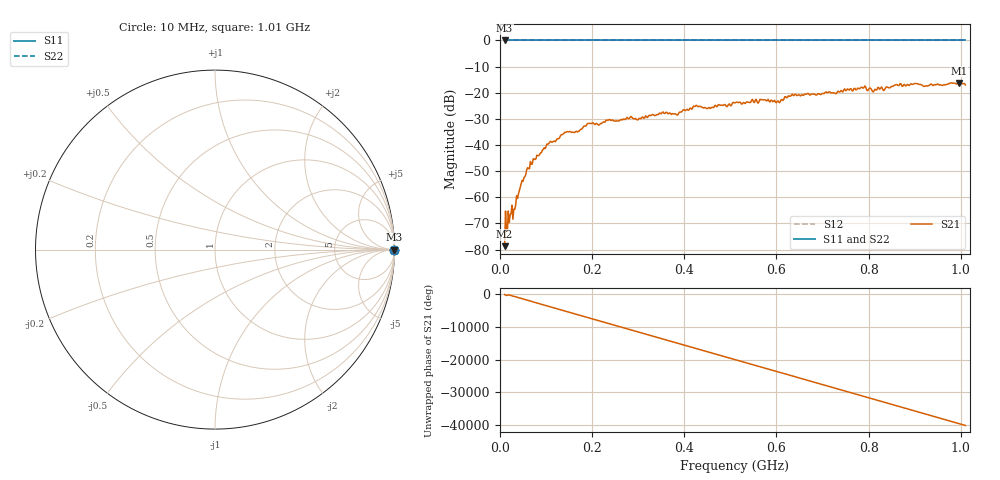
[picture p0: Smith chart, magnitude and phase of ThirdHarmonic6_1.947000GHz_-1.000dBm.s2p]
! 8/16/2025 11:27:03 PM
! C:\ANRITSUVNA\TEMP\TEMP.S2P
! CHANNEL.1
! TR.MEASUREMENT
! RAW.DATA
! RF.CORRECTION.OFF
! AVERAGING.OFF
! IF.BANDWIDTH: 5KHZ
! SWEEPTYPE:  FREQ.SWEEP(Linear)
! Reference Plane Port Info
! PORT:  PORT1  PORT2
! DISTANCE:  0  m  0  m
! TIME:  0  s  0  s
! PHASE.OFFSET:  0  deg.  0  deg.
! LOSS:  0  dB  0  dB
! REF.LOSS:  0  dB  0  dB
! REF.FREQ:  0  Hz  0  Hz
! Power Info
! POWER:  -20  dBm  -20  dBm
! EFF.POWER:  -20  dBm  -20  dBm
! SOURCE.ATTEN:  0  dB  0  dB
! TEST.ATTEN:  0  dB  0  dB
# GHZ S RI R 50.0
! FREQ.GHZ  S11RE  S11IM  S21RE  S21IM  S12RE  S12IM  S22RE  S22IM
!; PortSelection: Port_12
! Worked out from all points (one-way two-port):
!   501 points, 10 MHz to 1.01 GHz, reference 50 ohm
!   highest |S21| = -16.23 dB at 996 MHz (marker M1); lowest = -78.7 dB at 10 MHz (marker M2)
!   lowest |S11| = 0.0 dB at 10 MHz (marker M3)
!   |S11| at or under -10 dB: nowhere
!   |S22| runs from 0.0 to 0.0 dB; largest |S21 - S12| = 1.2
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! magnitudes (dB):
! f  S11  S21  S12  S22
! 10 MHz  0.0  -78.7  0.0  0.0
! 16 MHz  0.0  -73.1  0.0  0.0
! 18 MHz  0.0  -65.3  0.0  0.0
! 22 MHz  0.0  -66.8  0.0  0.0
! 32 MHz  0.0  -64.6  0.0  0.0
! 48 MHz  0.0  -53.5  0.0  0.0
! 70 MHz  0.0  -47.3  0.0  0.0
! 106 MHz  0.0  -39.4  0.0  0.0
! 142 MHz  0.0  -35.2  0.0  0.0
! 178 MHz  0.0  -33.8  0.0  0.0
! 234 MHz  0.0  -30.6  0.0  0.0
! 344 MHz  0.0  -28.3  0.0  0.0
! 382 MHz  0.0  -28.2  0.0  0.0
! 424 MHz  0.0  -25.2  0.0  0.0
! 454 MHz  0.0  -25.7  0.0  0.0
! 510 MHz  0.0  -23.9  0.0  0.0
! 604 MHz  0.0  -23.2  0.0  0.0
! 630 MHz  0.0  -21.3  0.0  0.0
! 678 MHz  0.0  -20.5  0.0  0.0
! 844 MHz  0.0  -18.1  0.0  0.0
! 996 MHz  0.0  -16.2  0.0  0.0
! 1.01 GHz  0.0  -17.0  0.0  0.0
